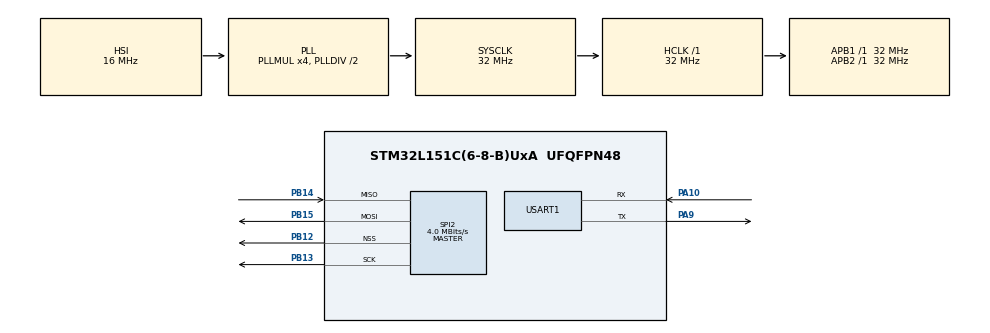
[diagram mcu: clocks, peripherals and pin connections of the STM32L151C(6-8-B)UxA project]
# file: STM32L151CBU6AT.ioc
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FREERTOS.Tasks01=defaultTask,0,128,StartDefaultTask,Default,NULL,Dynamic,NULL,NULL
FREERTOS.configUSE_NEWLIB_REENTRANT=1
Mcu.Family=STM32L1
Mcu.Name=STM32L151C(6-8-B)UxA
Mcu.Package=UFQFPN48
NVIC.PriorityGroup=NVIC_PRIORITYGROUP_4
NVIC.TIM2_IRQn=true\:5\:0\:false\:false\:true\:true\:true\:true\:true
PA10.Mode=Asynchronous
PA10.Signal=USART1_RX
PA9.Mode=Asynchronous
PA9.Signal=USART1_TX
PB12.Mode=NSS_Signal_Hard_Output
PB12.Signal=SPI2_NSS
PB13.Mode=Full_Duplex_Master
PB13.Signal=SPI2_SCK
PB14.Mode=Full_Duplex_Master
PB14.Signal=SPI2_MISO
PB15.Mode=Full_Duplex_Master
PB15.Signal=SPI2_MOSI
ProjectManager.HeapSize=0x200
ProjectManager.StackSize=0x400
ProjectManager.TargetToolchain=STM32CubeIDE
RCC.48MHZClocksFreq_Value=32000000
RCC.AHBFreq_Value=32000000
RCC.APB1Freq_Value=32000000
RCC.APB1TimFreq_Value=32000000
RCC.APB2Freq_Value=32000000
RCC.APB2TimFreq_Value=32000000
RCC.HCLKFreq_Value=32000000
RCC.HSE_VALUE=24000000
RCC.HSI_VALUE=16000000
RCC.LSE_VALUE=32768
RCC.MSI_VALUE=2097000
RCC.PLLMUL=RCC_PLL_MUL4
RCC.SYSCLKFreq_VALUE=32000000
RCC.SYSCLKSource=RCC_SYSCLKSOURCE_PLLCLK
RCC.VCOOutputFreq_Value=64000000
SPI2.BaudRatePrescaler=SPI_BAUDRATEPRESCALER_8
SPI2.CRCCalculation=SPI_CRCCALCULATION_DISABLE
SPI2.CalculateBaudRate=4.0 MBits/s
SPI2.Direction=SPI_DIRECTION_2LINES
SPI2.Mode=SPI_MODE_MASTER
SPI2.VirtualNSS=VM_NSSHARD
SPI2.VirtualType=VM_MASTER
TIM2.Prescaler=16000-1
USART1.VirtualMode=VM_ASYNC
VP_FREERTOS_VS_CMSIS_V1.Mode=CMSIS_V1
VP_TIM2_VS_ClockSourceINT.Mode=Internal
board=custom

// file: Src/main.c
/* USER CODE BEGIN Header */
/*
 ******************************************************************************
 * @file    main.c
 * @brief   File provides the possibility to collect 3-dimentional data from
 * 			inclinometer via SPI bus.
 * @devices	STM32L151CBU6AT & Murata SCL3300-D01 Inclinometer
 * @author	brzanka
 ******************************************************************************
  */
/* USER CODE END Header */
#include "main.h"
#include "cmsis_os.h"
#include "spi.h"
#include "tim.h"
#include "usart.h"
#include "gpio.h"

/* USER CODE BEGIN Includes */
#include "scl3300-d01.h"
/* USER CODE END Includes */

/* USER CODE BEGIN PTD */
int _write(int fd, char* ptr, int len)
{
    HAL_UART_Transmit(&huart1, (uint8_t *) ptr, len, HAL_MAX_DELAY);
    return len;
}
/* USER CODE END PTD */

/* USER CODE BEGIN PV */
uint8_t flag = 0;
/* USER CODE END PV */

void SystemClock_Config(void);
void MX_FREERTOS_Init(void);

int main(void)
{

  /* MCU Configuration--------------------------------------------------------*/

  /* Reset of all peripherals, Initializes the Flash interface and the Systick. */
  HAL_Init();

  /* Configure the system clock */
  SystemClock_Config();

  /* Initialize all configured peripherals */
  MX_GPIO_Init();
  MX_SPI2_Init();
  MX_TIM2_Init();
  MX_USART1_UART_Init();
  /* USER CODE BEGIN 2 */
  scl3300Data data;
  modeSensitivity mode;

  mode.TEMP_SENS = TEMP_SENSITIVITY;
  mode.ANG_SENS = ANG_SENSITIVITY;
  #ifdef MODE1
  mode.ACC_SENS = ACC_SENSITIVITY_1;
  mode.MODE = MODE1;
  #endif
  #ifdef MODE2
  mode.ACC_SENS = ACC_SENSITIVITY_2;
  mode.MODE = MODE2;
  #endif
  #ifdef MODE3
  mode.ACC_SENS = ACC_SENSITIVITY_34;
  mode.MODE = MODE3;
  #endif
  #ifdef MODE4
  mode.ACC_SENS = ACC_SENSITIVITY_34;
  mode.MODE = MODE4;
  #endif

  if(checkScl3300() & (uint8_t)WHO_AM_I_SCL3300_RSP)
    {
      scl3300Init(mode);
    }
    else
    {
  	  return 0;
    }
  /* USER CODE END 2 */

  /* Call init function for freertos objects (in freertos.c) */
  MX_FREERTOS_Init();

  /* Start scheduler */
  osKernelStart();

  /* We should never get here as control is now taken by the scheduler */
  /* Infinite loop */
  /* USER CODE BEGIN WHILE */
  while (1)
  {
    if(flag == 1)
    {
      data = readData();
      displayData(data,mode);
      flag = 0;
    }
    /* USER CODE END WHILE */

  }
}

void SystemClock_Config(void)
{
  RCC_OscInitTypeDef RCC_OscInitStruct = {0};
  RCC_ClkInitTypeDef RCC_ClkInitStruct = {0};

  /** Configure the main internal regulator output voltage
  */
  __HAL_PWR_VOLTAGESCALING_CONFIG(PWR_REGULATOR_VOLTAGE_SCALE1);

  /** Initializes the RCC Oscillators according to the specified parameters
  * in the RCC_OscInitTypeDef structure.
  */
  RCC_OscInitStruct.OscillatorType = RCC_OSCILLATORTYPE_HSI;
  RCC_OscInitStruct.HSIState = RCC_HSI_ON;
  RCC_OscInitStruct.HSICalibrationValue = RCC_HSICALIBRATION_DEFAULT;
  RCC_OscInitStruct.PLL.PLLState = RCC_PLL_ON;
  RCC_OscInitStruct.PLL.PLLSource = RCC_PLLSOURCE_HSI;
  RCC_OscInitStruct.PLL.PLLMUL = RCC_PLL_MUL4;
  RCC_OscInitStruct.PLL.PLLDIV = RCC_PLL_DIV2;
  if (HAL_RCC_OscConfig(&RCC_OscInitStruct) != HAL_OK)
  {
    Error_Handler();
  }

  /** Initializes the CPU, AHB and APB buses clocks
  */
  RCC_ClkInitStruct.ClockType = RCC_CLOCKTYPE_HCLK|RCC_CLOCKTYPE_SYSCLK
                              |RCC_CLOCKTYPE_PCLK1|RCC_CLOCKTYPE_PCLK2;
  RCC_ClkInitStruct.SYSCLKSource = RCC_SYSCLKSOURCE_PLLCLK;
  RCC_ClkInitStruct.AHBCLKDivider = RCC_SYSCLK_DIV1;
  RCC_ClkInitStruct.APB1CLKDivider = RCC_HCLK_DIV1;
  RCC_ClkInitStruct.APB2CLKDivider = RCC_HCLK_DIV1;

  if (HAL_RCC_ClockConfig(&RCC_ClkInitStruct, FLASH_LATENCY_1) != HAL_OK)
  {
    Error_Handler();
  }
}

/* USER CODE BEGIN 4 */
void HAL_TIM_PeriodElapsedCallback(TIM_HandleTypeDef *htim)
{
  if (htim == &htim2)
  {
    flag = 1;
  }
}
/* USER CODE END 4 */

void Error_Handler(void)
{
  __disable_irq();
  while (1)
  {
  }
}
